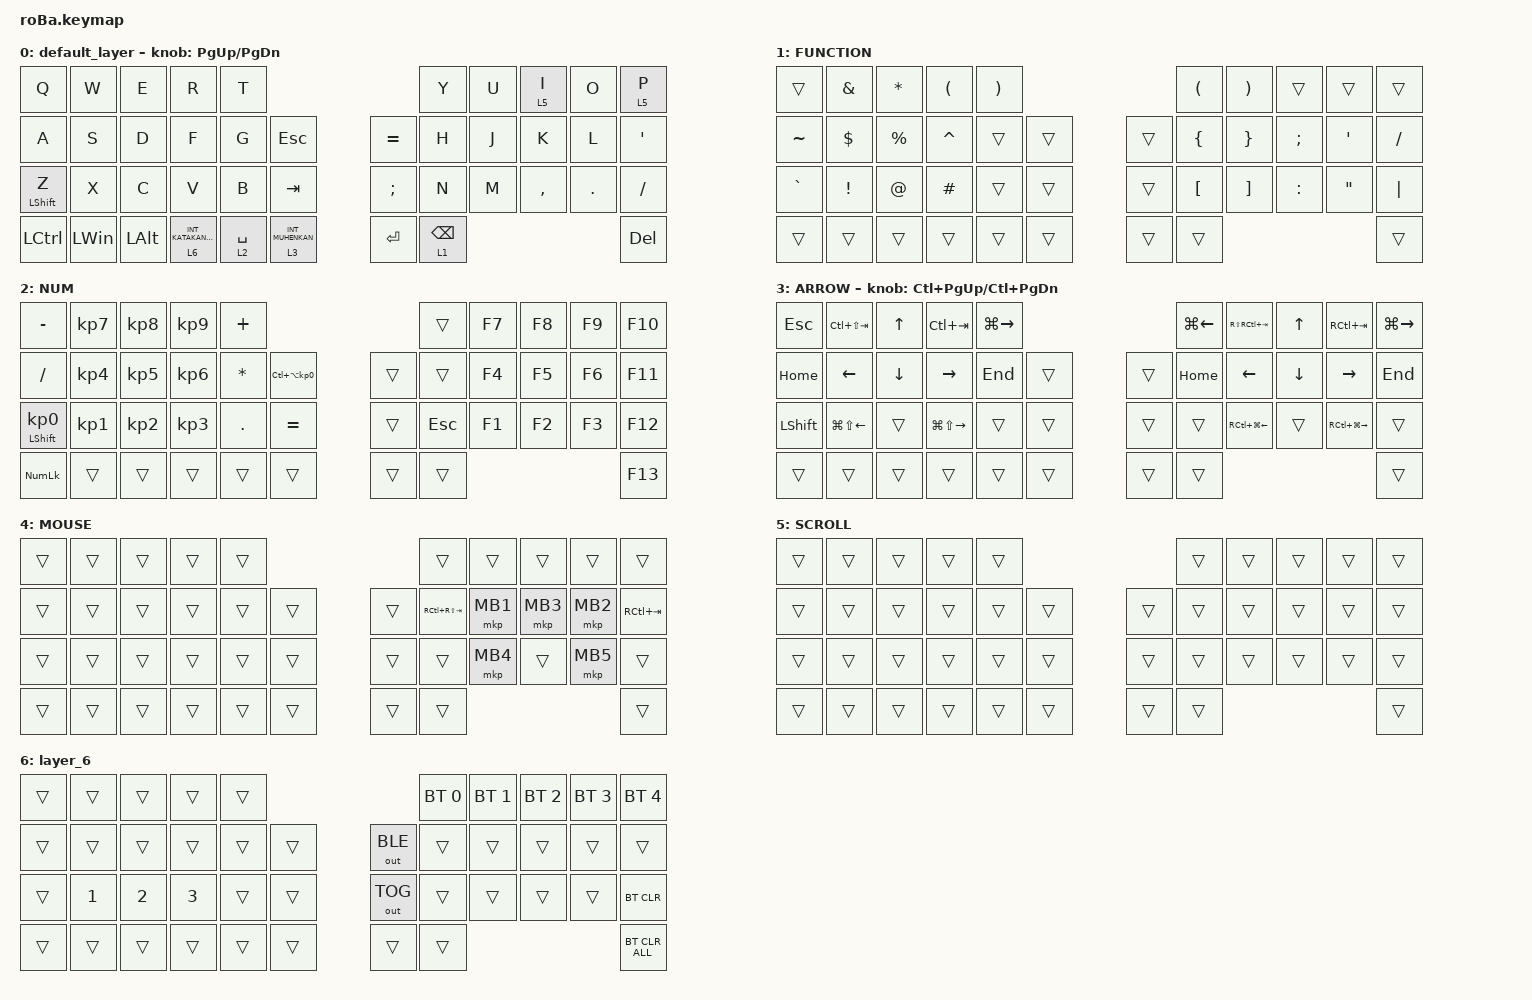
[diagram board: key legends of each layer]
#include <behaviors.dtsi>
#include <dt-bindings/zmk/bt.h>
#include <dt-bindings/zmk/keys.h>
#include <dt-bindings/zmk/outputs.h>
#include <dt-bindings/zmk/pointing.h>

&mt {
    flavor = "balanced";
    quick-tap-ms = <0>;
};

&trackball {
    automouse-layer = <4>;
    scroll-layers = <5>;

    // arrows {
    //     layers = <3>;
    //     bindings =
    //         <&kp RIGHT_ARROW>,
    //         <&kp LEFT_ARROW>,
    //         <&kp UP_ARROW>,
    //         <&kp DOWN_ARROW>;
    //     tick = <10>;
    //     wait-ms = <5>;
    //     tap-ms = <5>;
    // };
};

/ {
    combos {
        compatible = "zmk,combos";

        tab {
            bindings = <&kp TAB>;
            key-positions = <11 12>;
        };

        shift_tab {
            bindings = <&kp LS(TAB)>;
            key-positions = <12 13>;
        };

        muhennkann {
            bindings = <&to_layer_0 INT_MUHENKAN>;
            key-positions = <11 10>;
        };

        double_quotation {
            bindings = <&kp DOUBLE_QUOTES>;
            key-positions = <20 21>;
        };

        eq {
            bindings = <&kp EQUAL>;
            key-positions = <24 25>;
        };
    };

    macros {
        to_layer_0: to_layer_0 {
            compatible = "zmk,behavior-macro-one-param";
            #binding-cells = <1>;
            bindings = <&to 0 &macro_param_1to1 &kp MACRO_PLACEHOLDER>;
            label = "TO_LAYER_0";
        };
    };

    behaviors {
        lt_to_layer_0: lt_to_layer_0 {
            compatible = "zmk,behavior-hold-tap";
            label = "LAYER_TAP_TO_0";
            bindings = <&mo>, <&to_layer_0>;

            #binding-cells = <2>;
            tapping-term-ms = <200>;
        };
    };

    keymap {
        compatible = "zmk,keymap";

        default_layer {
            bindings = <
&kp Q             &kp W         &kp E         &kp R                       &kp T                                                          &kp Y            &kp U  &lt 5 I    &kp O    &lt 5 P
&kp A             &kp S         &kp D         &kp F                       &kp G        &kp ESC                            &kp EQUAL      &kp H            &kp J  &kp K      &kp L    &kp SQT
&mt LEFT_SHIFT Z  &kp X         &kp C         &kp V                       &kp B        &kp TAB                            &kp SEMICOLON  &kp N            &kp M  &kp COMMA  &kp DOT  &kp SLASH
&kp LCTRL         &kp LEFT_WIN  &kp LEFT_ALT  &lt 6 INT_KATAKANAHIRAGANA  &lt 2 SPACE  &lt_to_layer_0 3 INT_MUHENKAN      &kp ENTER      &lt 1 BACKSPACE                             &kp DEL
            >;

            sensor-bindings = <&inc_dec_kp PG_UP PAGE_DOWN>;
        };

        FUNCTION {
            bindings = <
&trans     &kp AMPERSAND    &kp ASTRK    &kp LPAR   &kp RPAR                      &kp LPAR  &kp RPAR  &trans     &trans             &trans
&kp TILDE  &kp DOLLAR       &kp PERCENT  &kp CARET  &trans    &trans      &trans  &kp LBRC  &kp RBRC  &kp SEMI   &kp APOS           &kp FSLH
&kp GRAVE  &kp EXCLAMATION  &kp AT       &kp POUND  &trans    &trans      &trans  &kp LBKT  &kp RBKT  &kp COLON  &kp DOUBLE_QUOTES  &kp PIPE
&trans     &trans           &trans       &trans     &trans    &trans      &trans  &trans                                            &trans
            >;
        };

        NUM {
            bindings = <
&kp MINUS                   &kp KP_NUMBER_7  &kp KP_NUMBER_8  &kp KP_NUMBER_9  &kp PLUS                                           &trans   &kp F7  &kp F8  &kp F9  &kp F10
&kp SLASH                   &kp KP_NUMBER_4  &kp KP_NUMBER_5  &kp KP_NUMBER_6  &kp ASTERISK  &kp LC(LA(KP_NUMBER_0))      &trans  &trans   &kp F4  &kp F5  &kp F6  &kp F11
&mt LEFT_SHIFT KP_NUMBER_0  &kp KP_NUMBER_1  &kp KP_NUMBER_2  &kp KP_NUMBER_3  &kp PERIOD    &kp EQUAL                    &trans  &kp ESC  &kp F1  &kp F2  &kp F3  &kp F12
&kp KP_NUMLOCK              &trans           &trans           &trans           &trans        &trans                       &trans  &trans                           &kp F13
            >;
        };

        ARROW {
            bindings = <
&kp ESCAPE      &kp LC(LS(TAB))         &kp UP_ARROW    &kp LC(TAB)              &kp LG(RIGHT_ARROW)                      &kp LG(LEFT_ARROW)  &kp RS(RC(TAB))         &kp UP_ARROW    &kp RC(TAB)              &kp LG(RIGHT_ARROW)
&kp HOME        &kp LEFT_ARROW          &kp DOWN_ARROW  &kp RIGHT_ARROW          &kp END              &trans      &trans  &kp HOME            &kp LEFT_ARROW          &kp DOWN_ARROW  &kp RIGHT_ARROW          &kp END
&kp LEFT_SHIFT  &kp LG(LS(LEFT_ARROW))  &trans          &kp LG(LS(RIGHT_ARROW))  &trans               &trans      &trans  &trans              &kp RC(LG(LEFT_ARROW))  &trans          &kp RC(LG(RIGHT_ARROW))  &trans
&trans          &trans                  &trans          &trans                   &trans               &trans      &trans  &trans                                                                               &trans
            >;

            sensor-bindings = <&inc_dec_kp LC(PAGE_UP) LC(PAGE_DOWN)>;
        };

        MOUSE {
            bindings = <
&trans  &trans  &trans  &trans  &trans                      &trans           &trans    &trans    &trans    &trans
&trans  &trans  &trans  &trans  &trans  &trans      &trans  &kp RC(RS(TAB))  &mkp MB1  &mkp MB3  &mkp MB2  &kp RC(TAB)
&trans  &trans  &trans  &trans  &trans  &trans      &trans  &trans           &mkp MB4  &trans    &mkp MB5  &trans
&trans  &trans  &trans  &trans  &trans  &trans      &trans  &trans                                         &trans
            >;
        };

        SCROLL {
            bindings = <
&trans  &trans  &trans  &trans  &trans                      &trans  &trans  &trans  &trans  &trans
&trans  &trans  &trans  &trans  &trans  &trans      &trans  &trans  &trans  &trans  &trans  &trans
&trans  &trans  &trans  &trans  &trans  &trans      &trans  &trans  &trans  &trans  &trans  &trans
&trans  &trans  &trans  &trans  &trans  &trans      &trans  &trans                          &trans
            >;
        };

        layer_6 {
            bindings = <
&trans  &trans        &trans        &trans        &trans                            &bt BT_SEL 0  &bt BT_SEL 1  &bt BT_SEL 2  &bt BT_SEL 3  &bt BT_SEL 4
&trans  &trans        &trans        &trans        &trans  &trans      &out OUT_BLE  &trans        &trans        &trans        &trans        &trans
&trans  &kp NUMBER_1  &kp NUMBER_2  &kp NUMBER_3  &trans  &trans      &out OUT_TOG  &trans        &trans        &trans        &trans        &bt BT_CLR
&trans  &trans        &trans        &trans        &trans  &trans      &trans        &trans                                                  &bt BT_CLR_ALL
            >;
        };
    };
};
